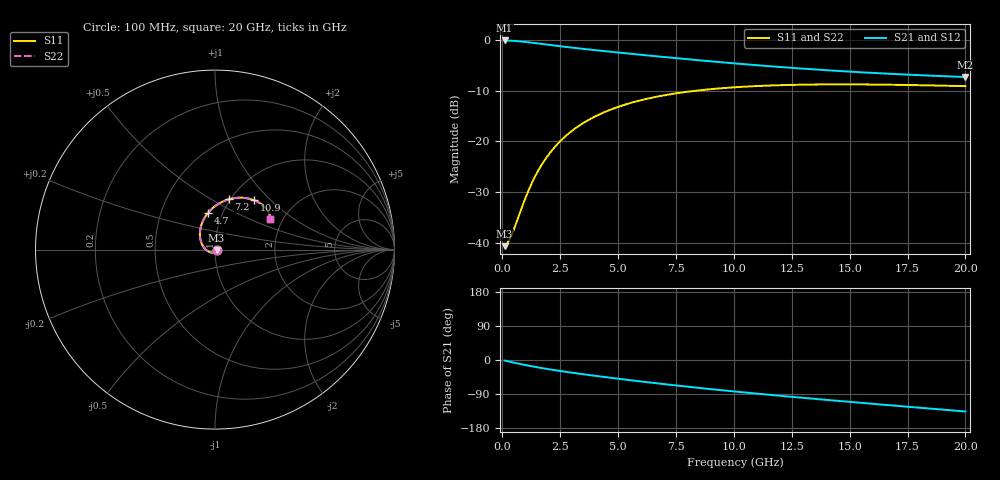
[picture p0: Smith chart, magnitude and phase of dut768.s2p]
! Touchstone file exported from HFSS 2024.1.0
!  File:  C:/UserFiles/LocalFiles/RDL_TSV_Batchsim/temp_RDL_TSV_768_1779902314.aedt
!  Generated:  01:35:18 AM May 28, 2026
!  Design:  RDL_TSV
!  Project:  temp_RDL_TSV_768_1779902314
!  Setup:  Setup1
!  Solution:  Sweep
! Variables:
!  dtsv = 10.87um
!  hbump = 3um
!  htsv = 86.71um
!  ldown = 103.67um
!  lrdl = 312.45um
!  p = 40
!  p1 = 57.75um
!  rhole = 10um
!  subl = 1560.81um
!  t = 450um
!  tdown = 3.54um
!  trdl = 3.48um
!  viad = 10um
!  wdown = 21.14um
!  wrdl = 18.75um
!  xbump = 18um
# GHz S MA R 50.000000
! Terminal data exported
! Port[1] = TM1_1_T1
! Port[2] = TM1_4_T1
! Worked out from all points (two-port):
!   200 points, 100 MHz to 20 GHz, reference 50 ohm
!   highest |S21| = -0.08 dB at 100 MHz (marker M1); lowest = -7.3 dB at 20 GHz (marker M2)
!   |S21| within 3 dB of the highest: start of sweep to 6.382 GHz
!   lowest |S11| = -40.6 dB at 100 MHz (marker M3), VSWR 1.02, Z = 50.9 - j0.295 ohm
!   |S11| at or under -10 dB: start of sweep to 8.349 GHz
!   |S22| runs from -40.6 to -8.7 dB; largest |S21 - S12| = 1e-14
!   S11 on the Smith chart (normalised r, x): 100 MHz: 1.02, -0.01; 4.7 GHz: 0.85, +0.36; 7.2 GHz: 0.98, +0.60; 10.9 GHz: 1.28, +0.80; 20 GHz: 1.71, +0.67
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0.1  0.009293 -18.1  0.9904 -1.4  0.9904 -1.4  0.009293 -18.1
! Gamma 0 0 0 0
! Port Impedance 50 0 50 0
0.2  0.009813 -36.3  0.989 -2.8  0.989 -2.8  0.009813 -36.3
0.3  0.01068 -54.2  0.9869 -4.2  0.9869 -4.2  0.01069 -54.2
0.4  0.01193 -71.3  0.9842 -5.6  0.9842 -5.6  0.01193 -71.3
1.1  0.03155 -152.3  0.9523 -14.6  0.9523 -14.6  0.03155 -152.3
1.4  0.04444 -171.9  0.9346 -18.0  0.9346 -18.0  0.04443 -171.9
1.7  0.05886 172.9  0.9161 -21.2  0.9161 -21.2  0.05884 172.9
2.1  0.07941 157.0  0.8919 -25.3  0.8919 -25.3  0.07939 157.0
2.5  0.1006 144.2  0.8689 -29.0  0.8689 -29.0  0.1005 144.2
3  0.1268 131.3  0.8422 -33.4  0.8422 -33.4  0.1267 131.3
3.5  0.1521 120.7  0.8177 -37.6  0.8177 -37.6  0.152 120.7
4.1  0.1807 110.2  0.7906 -42.4  0.7906 -42.4  0.1806 110.2
4.7  0.2069 101.2  0.7653 -47.1  0.7653 -47.1  0.2068 101.2
5.7  0.2453 89.0  0.7261 -54.6  0.7261 -54.6  0.2452 89.0
6.8  0.2799 78.1  0.6864 -62.4  0.6864 -62.4  0.2798 78.1
7.2  0.2906 74.7  0.6728 -65.1  0.6728 -65.1  0.2905 74.7
8.6  0.3209 64.4  0.6284 -74.3  0.6284 -74.3  0.3208 64.3
10.1  0.343 55.5  0.5866 -83.5  0.5866 -83.5  0.3429 55.5
10.9  0.3512 51.5  0.5667 -88.2  0.5667 -88.2  0.351 51.5
13.4  0.3643 41.7  0.5145 -102.1  0.5145 -102.1  0.3642 41.7
16.7  0.3627 33.4  0.4652 -119.3  0.4652 -119.3  0.3625 33.4
20  0.3512 29.4  0.4318 -136.0  0.4318 -136.0  0.351 29.4
